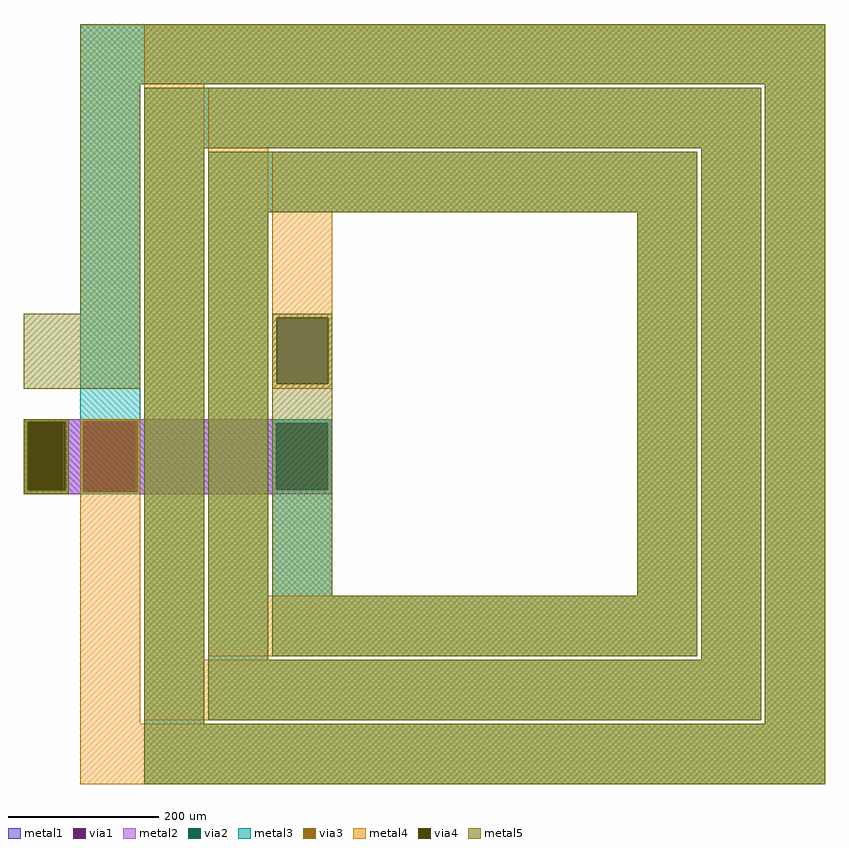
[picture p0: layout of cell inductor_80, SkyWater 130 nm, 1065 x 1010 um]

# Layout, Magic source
magic
tech sky130A
<< metal1 >>
rect 13991 -4393 54991 -4001
rect 13991 -13484 14525 -4393
rect 19548 -4543 54991 -4393
rect 19548 -13429 47532 -4543
rect 54381 -13429 54991 -4543
rect 19548 -13484 54991 -13429
rect 13991 -14001 54991 -13484
<< via1 >>
rect 14525 -13484 19548 -4393
rect 47532 -13429 54381 -4543
<< metal2 >>
rect 13991 -4393 54991 -4001
rect 13991 -13484 14525 -4393
rect 19548 -4543 54991 -4393
rect 19548 -13429 47532 -4543
rect 54381 -13429 54991 -4543
rect 19548 -13484 54991 -13429
rect 13991 -14001 54991 -13484
<< via2 >>
rect 14525 -13484 19548 -4393
rect 47532 -13429 54381 -4543
<< metal3 >>
rect 21491 40499 120491 48499
rect 13991 -4393 19991 -4001
rect 13991 -13484 14525 -4393
rect 19548 -13484 19991 -4393
rect 13991 -14001 19991 -13484
rect 21491 -4315 29491 40499
rect 21491 -13681 21873 -4315
rect 29086 -13681 29491 -4315
rect 21491 -14001 29491 -13681
rect 29991 31999 111991 39999
rect 29991 -44501 37991 31999
rect 38491 23499 103491 31499
rect 38491 -36001 46491 23499
rect 46991 -4543 54991 -4001
rect 46991 -13429 47532 -4543
rect 54381 -13429 54991 -4543
rect 46991 -27501 54991 -13429
rect 95491 -27501 103491 23499
rect 46991 -35501 103491 -27501
rect 103991 -36001 111991 31999
rect 38491 -44001 111991 -36001
rect 112491 -44501 120491 40499
rect 29991 -52501 120491 -44501
<< via3 >>
rect 14525 -13484 19548 -4393
rect 21873 -13681 29086 -4315
<< metal4 >>
rect 29991 40499 120491 48499
rect 13991 -4393 19991 -4001
rect 13991 -13484 14525 -4393
rect 19548 -13484 19991 -4393
rect 13991 -14001 19991 -13484
rect 21491 -4315 29491 -4001
rect 21491 -13681 21873 -4315
rect 29086 -13681 29491 -4315
rect 21491 -44501 29491 -13681
rect 29991 -36001 37991 40499
rect 38491 31999 111991 39999
rect 38491 -27501 46491 31999
rect 46991 23499 103491 31499
rect 46991 9493 54991 23499
rect 46991 676 47594 9493
rect 54457 676 54991 9493
rect 46991 -1 54991 676
rect 95491 -27501 103491 23499
rect 38491 -35501 103491 -27501
rect 103991 -36001 111991 31999
rect 29991 -44001 111991 -36001
rect 112491 -44501 120491 40499
rect 21491 -52501 120491 -44501
<< via4 >>
rect 14525 -13484 19548 -4393
rect 47594 676 54457 9493
<< metal5 >>
rect 21491 40499 120491 48499
rect 21491 9999 29491 40499
rect 13991 -1 29491 9999
rect 29991 31999 111991 39999
rect 13991 -4393 19991 -4001
rect 13991 -13484 14525 -4393
rect 19548 -13484 19991 -4393
rect 13991 -14001 19991 -13484
rect 29991 -44501 37991 31999
rect 38491 23499 103491 31499
rect 38491 -36001 46491 23499
rect 46991 9493 54991 9999
rect 46991 676 47594 9493
rect 54457 676 54991 9493
rect 46991 -27501 54991 676
rect 95491 -27501 103491 23499
rect 46991 -35501 103491 -27501
rect 103991 -36001 111991 31999
rect 38491 -44001 111991 -36001
rect 112491 -44501 120491 40499
rect 29991 -52501 120491 -44501
<< end >>
